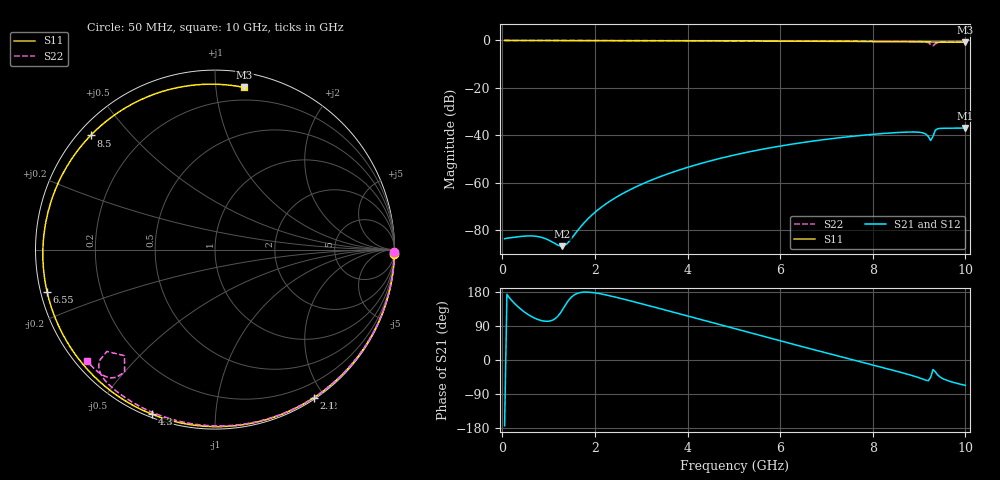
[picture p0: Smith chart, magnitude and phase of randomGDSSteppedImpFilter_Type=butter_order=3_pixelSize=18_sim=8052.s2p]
! freq	dB(S11)	phase(S11)	dB(S12)	phase(S12)
!  dB(S21)	phase(S21)	dB(S22)	phase(S22)
!S-par simulation data
#  GHz  S  DB  R 50
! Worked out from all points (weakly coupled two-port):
!   200 points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, 50 MHz to 10 GHz, reference 50 ohm
!   highest |S21| = -36.95 dB at 10 GHz (marker M1); lowest = -86.8 dB at 1.3 GHz (marker M2)
!   lowest |S11| = -0.7 dB at 10 GHz (marker M3), VSWR 23.33, Z = 5.2 + j59.6 ohm
!   |S11| at or under -10 dB: nowhere
!   |S22| runs from -2.2 to 0.0 dB; largest |S21 - S12| = 0
!   S11 on the Smith chart (normalised r, x): 50 MHz: 0, -83; 2.1 GHz: 0.02, -1.87; 4.3 GHz: 0.01, -0.69; 6.55 GHz: 0.02, -0.12; 8.5 GHz: 0.04, +0.39; 10 GHz: 0.10, +1.19
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0.05  -0.00 -1.4  -83.64 -173.7  -83.64 -173.7  -0.00 -0.8
1.3  -0.04 -35.4  -86.80 132.6  -86.80 132.6  -0.03 -20.9
1.6  -0.05 -43.3  -80.85 174.7  -80.85 174.7  -0.03 -25.7
1.75  -0.06 -47.3  -77.31 179.0  -77.31 179.0  -0.04 -28.1
2.1  -0.07 -56.4  -70.93 175.2  -70.93 175.2  -0.04 -33.5
2.65  -0.09 -70.4  -64.07 159.7  -64.07 159.7  -0.05 -42.0
3.4  -0.12 -89.1  -57.54 135.8  -57.54 135.8  -0.07 -53.3
4.3  -0.16 -110.9  -51.83 106.4  -51.83 106.4  -0.09 -66.5
5.05  -0.20 -128.8  -48.16 81.7  -48.16 81.7  -0.12 -77.1
5.85  -0.25 -148.2  -45.06 55.5  -45.06 55.5  -0.15 -88.0
6.55  -0.31 -165.8  -42.89 32.9  -42.89 32.9  -0.18 -97.3
6.7  -0.33 -169.7  -42.48 28.1  -42.48 28.1  -0.19 -99.3
7.55  -0.41 167.0  -40.46 1.1  -40.46 1.1  -0.25 -110.3
8.35  -0.51 142.4  -39.07 -24.3  -39.07 -24.3  -0.31 -120.6
8.5  -0.53 137.5  -38.88 -29.2  -38.88 -29.2  -0.33 -122.6
9.05  -0.61 118.0  -38.85 -49.0  -38.85 -49.0  -0.47 -131.5
9.15  -0.62 114.2  -39.56 -53.6  -39.56 -53.6  -0.66 -134.3
9.25  -0.64 110.4  -42.23 -45.8  -42.23 -45.8  -1.64 -136.7
9.3  -0.64 108.5  -40.45 -25.3  -40.45 -25.3  -2.19 -130.4
9.35  -0.65 106.5  -37.91 -31.1  -37.91 -31.1  -1.44 -126.5
9.4  -0.66 104.6  -37.24 -39.3  -37.24 -39.3  -0.92 -127.6
10  -0.75 79.8  -36.95 -66.9  -36.95 -66.9  -0.50 -138.9
